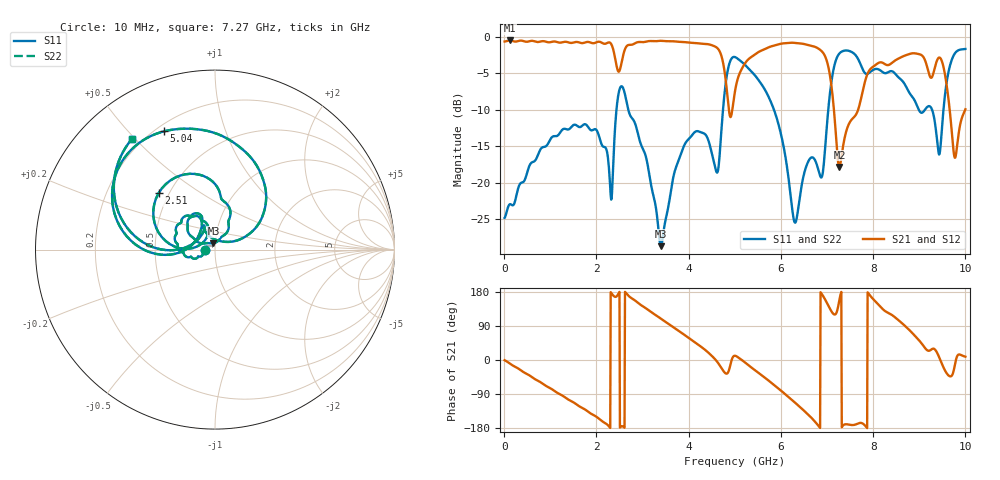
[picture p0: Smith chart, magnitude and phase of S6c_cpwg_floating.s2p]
! kicad_em_sim: S-parameters of 2 ports, openEMS
# Hz S RI R 50
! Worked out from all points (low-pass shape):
!   1000 points, 10 MHz to 10 GHz, reference 50 ohm
!   highest |S21| = -0.49 dB at 120 MHz (marker M1); lowest = -17.8 dB at 7.27 GHz (marker M2)
!   |S21| within 3 dB of the highest: start of sweep to 2.423 GHz; 2.547 GHz to 4.744 GHz (2.197 GHz wide, 60.3 % of centre)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
!   lowest |S11| = -28.7 dB at 3.4 GHz (marker M3), VSWR 1.08, Z = 49 + j3.51 ohm
!   |S11| at or under -10 dB: start of sweep to 2.435 GHz; 2.693 GHz to 4.745 GHz (2.052 GHz wide, 55.2 % of centre); 5.85 GHz to 7.027 GHz (1.177 GHz wide, 18.3 % of centre)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
!   |S22| runs from -28.7 to -1.7 dB; largest |S21 - S12| = 2.8e-07
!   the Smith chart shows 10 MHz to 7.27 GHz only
!   S11 on the Smith chart (normalised r, x): 10 MHz: 0.89, -0.00; 2.51 GHz: 0.44, +0.34; 5.04 GHz: 0.23, +0.63; 7.27 GHz: 0.16, +0.49
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1e7  -0.0573 -0.00256  0.9295 -0.0101  0.9295 -0.0101  -0.0573 -0.00256
1.2e8  -0.0696 -0.0146  0.9336 -0.148  0.9336 -0.148  -0.0696 -0.0146
8.9e8  -0.1759 -0.0167  0.3624 -0.8563  0.3624 -0.8563  -0.1759 -0.0167
1.68e9  -0.1878 0.1558  -0.5287 -0.7366  -0.5287 -0.7366  -0.1878 0.1558
2.32e9  -0.0546 0.0536  -0.8935 0.0424  -0.8935 0.0424  -0.0546 0.0536
2.51e9  -0.3145 0.314  -0.5958 -0.0169  -0.5958 -0.0169  -0.3145 0.314
3.34e9  0.0156 0.0472  -0.382 0.8565  -0.382 0.8565  0.0156 0.0472
3.4e9  -0.00841 0.0357  -0.3038 0.8895  -0.3038 0.8895  -0.00841 0.0357
4.43e9  -0.0829 0.1756  0.841 0.2915  0.841 0.2915  -0.0829 0.1756
4.75e9  -0.3301 -0.0237  0.5773 -0.3115  0.5773 -0.3115  -0.3301 -0.0237
5.01e9  -0.3515 0.6355  0.4247 0.0834  0.4247 0.0834  -0.3515 0.6355
5.04e9  -0.2837 0.659  0.4756 0.0805  0.4756 0.0805  -0.2837 0.659
6.03e9  0.1794 0.079  0.1001 -0.8955  0.1001 -0.8955  0.1794 0.079
6.3e9  0.0195 0.0497  -0.3382 -0.8443  -0.3382 -0.8443  0.0195 0.0497
6.67e9  -0.063 0.1353  -0.7767 -0.3867  -0.7767 -0.3867  -0.063 0.1353
7.03e9  -0.3242 0.00672  -0.4961 0.3718  -0.4961 0.3718  -0.3242 0.00672
7.27e9  -0.4634 0.6158  -0.1205 0.0434  -0.1205 0.0434  -0.4634 0.6158
8.34e9  0.42 0.3943  -0.3559 0.535  -0.3559 0.535  0.42 0.3943
9.17e9  -0.0319 -0.3287  0.5611 0.2723  0.5611 0.2723  -0.0319 -0.3287
9.44e9  -0.1567 -0.0173  0.7189 0.0603  0.7189 0.0603  -0.1567 -0.0173
9.7e9  -0.6379 0.2625  0.1734 -0.1557  0.1734 -0.1557  -0.6379 0.2625
1e10  -0.2151 0.7981  0.3153 0.0486  0.3153 0.0486  -0.2151 0.7981
